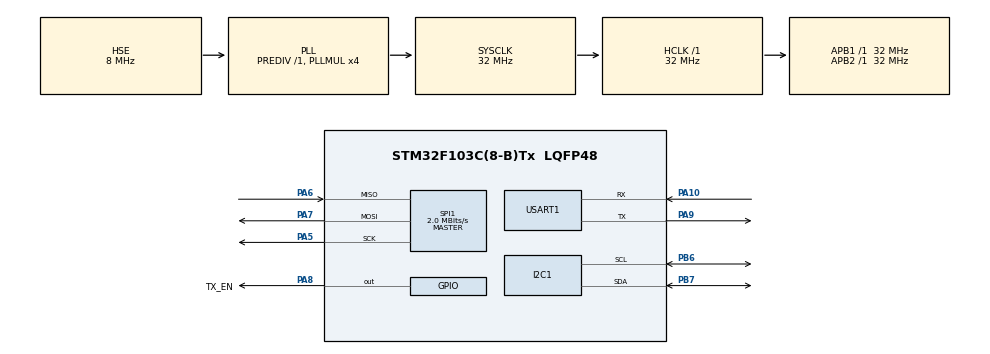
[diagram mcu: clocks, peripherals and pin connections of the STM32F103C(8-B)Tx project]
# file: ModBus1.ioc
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I2C1.I2C_Mode=I2C_Fast
Mcu.Family=STM32F1
Mcu.Name=STM32F103C(8-B)Tx
Mcu.Package=LQFP48
NVIC.PriorityGroup=NVIC_PRIORITYGROUP_4
NVIC.USART1_IRQn=true\:0\:0\:false\:false\:true\:true\:true\:true
PA10.Mode=Asynchronous
PA10.Signal=USART1_RX
PA13.Mode=Serial_Wire
PA13.Signal=SYS_JTMS-SWDIO
PA14.Mode=Serial_Wire
PA14.Signal=SYS_JTCK-SWCLK
PA5.Mode=Full_Duplex_Master
PA5.Signal=SPI1_SCK
PA6.Mode=Full_Duplex_Master
PA6.Signal=SPI1_MISO
PA7.Mode=Full_Duplex_Master
PA7.Signal=SPI1_MOSI
PA8.GPIO_Label=TX_EN
PA8.Signal=GPIO_Output
PA9.Mode=Asynchronous
PA9.Signal=USART1_TX
PB6.Mode=I2C
PB6.Signal=I2C1_SCL
PB7.Mode=I2C
PB7.Signal=I2C1_SDA
PD0-OSC_IN.Mode=HSE-External-Oscillator
PD0-OSC_IN.Signal=RCC_OSC_IN
PD1-OSC_OUT.Mode=HSE-External-Oscillator
PD1-OSC_OUT.Signal=RCC_OSC_OUT
ProjectManager.HeapSize=0x200
ProjectManager.StackSize=0x400
ProjectManager.TargetToolchain=STM32CubeIDE
RCC.AHBFreq_Value=32000000
RCC.APB1Freq_Value=32000000
RCC.APB1TimFreq_Value=32000000
RCC.APB2Freq_Value=32000000
RCC.APB2TimFreq_Value=32000000
RCC.HCLKFreq_Value=32000000
RCC.PLLMUL=RCC_PLL_MUL4
RCC.PLLSourceVirtual=RCC_PLLSOURCE_HSE
RCC.SYSCLKFreq_VALUE=32000000
RCC.SYSCLKSource=RCC_SYSCLKSOURCE_PLLCLK
RCC.USBFreq_Value=32000000
SPI1.BaudRatePrescaler=SPI_BAUDRATEPRESCALER_16
SPI1.CLKPhase=SPI_PHASE_2EDGE
SPI1.CalculateBaudRate=2.0 MBits/s
SPI1.Direction=SPI_DIRECTION_2LINES
SPI1.Mode=SPI_MODE_MASTER
SPI1.VirtualType=VM_MASTER
USART1.VirtualMode=VM_ASYNC
board=custom

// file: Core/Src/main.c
/* USER CODE BEGIN Header */
/**
  ******************************************************************************
  * @file           : main.c
  * @brief          : Main program body
  ******************************************************************************
  * @attention
  *
  * Copyright (c) 2022 STMicroelectronics.
  * All rights reserved.
  *
  * This software is licensed under terms that can be found in the LICENSE file
  * in the root directory of this software component.
  * If no LICENSE file comes with this software, it is provided AS-IS.
  *
  ******************************************************************************
  */
/* USER CODE END Header */
#include "main.h"

/* USER CODE BEGIN Includes */

#include "stdio.h"
#include "string.h"
#include "fonts.h"
#include "ssd1306.h"
#include <stdio.h>
#include <stdbool.h>

/* USER CODE END Includes */

I2C_HandleTypeDef hi2c1;

SPI_HandleTypeDef hspi1;

UART_HandleTypeDef huart1;

void SystemClock_Config(void);
static void MX_GPIO_Init(void);
static void MX_I2C1_Init(void);
static void MX_SPI1_Init(void);
static void MX_USART1_UART_Init(void);

/* USER CODE BEGIN 0 */

extern bool MAX31865_Sensor_Error;
uint8_t RxDat[6];
uint8_t TxDat[6];
uint8_t temp [6];
char yazi[25];

void sendData (uint8_t *data)//gönderme işlem fonksiyonu
{
	// Pull DE high to enable TX operation
	HAL_GPIO_WritePin(TX_EN_GPIO_Port, TX_EN_Pin, 1);
	HAL_UART_Transmit(&huart1, data, strlen(data) , 1000);
	// Pull RE Low to enable RX operation
	HAL_GPIO_WritePin(TX_EN_GPIO_Port, TX_EN_Pin, 0);
}

/* USER CODE END 0 */

int main(void)
{

  /* MCU Configuration--------------------------------------------------------*/

  /* Reset of all peripherals, Initializes the Flash interface and the Systick. */
  HAL_Init();

  /* Configure the system clock */
  SystemClock_Config();

  /* Initialize all configured peripherals */
  MX_GPIO_Init();
  MX_I2C1_Init();
  MX_SPI1_Init();
  MX_USART1_UART_Init();
  /* USER CODE BEGIN 2 */

  SSD1306_Init();
  HAL_UARTEx_ReceiveToIdle_IT(&huart1, RxDat, 64);

  /* USER CODE END 2 */

  /* Infinite loop */
  while (1)
  {

	//  HAL_UART_Receive(&huart1, &temp, 8, 100);
	  	  	  	  	  	if(RxDat [1]>= 51)
	  	  	  	  	  		{
	  	  	  	  	  		sprintf(yazi, RxDat);
	  	  	  	  	  		TxDat[0] = 'H';
	  	  	  	  	  		TxDat[1] = 'I';
	  	  	  	  	  		TxDat[2] = 'G';
	  	  	  	  	  		TxDat[3] = 'H';
	  	  	  	  	  		TxDat[4] = ' ';
	  	  	  	  	  		TxDat[5] = '!';
	  	  	  	  	  		sendData(TxDat);
	  	  	  	  			SSD1306_Clear();
	  	  	  	  	  		SSD1306_GotoXY (50,5);
	  	  	  	  	  		SSD1306_Puts(yazi, &Font_11x18, 1);
  	  	  		  	  		SSD1306_GotoXY(25,25);
  	  	  		  	   		SSD1306_Puts("HIGH VALUE!!", &Font_7x10, 1);
	  	  	  	  	  		SSD1306_UpdateScreen();
	  	  	  	  	  		HAL_Delay(500);

	  	  	  	  	  		HAL_UARTEx_ReceiveToIdle_IT(&huart1, RxDat, 64);
	  	  	  	  	  		}
	  	  	  	  	  else if(RxDat [1]< 51)
	  	  	  	  	  	  	{
	  	  	  	  	  	  		sprintf(yazi, RxDat);
	  	  	  	  	  	  		TxDat[0] = 'N';
	  	  	  	  	  	  		TxDat[1] = 'O';
	  	  	  	  	  	  		TxDat[2] = 'R';
	  	  	  	  	  	  		TxDat[3] = 'M';
	  	  	  	  	  	  		TxDat[4] = 'A';
	  	  	  	  	  	  		TxDat[5] = 'L';
	  	  	  		  	  		sendData(TxDat);
	  	  	  		  			SSD1306_Clear();
	  	  	  		  	  		SSD1306_GotoXY(50,5);
	  	  	  		  	   		SSD1306_Puts(yazi, &Font_11x18, 1);
	  	  	  		  	  		SSD1306_GotoXY(25,25);
	  	  	  		  	   		SSD1306_Puts("NORMAL VALUE", &Font_7x10, 1);
	  	  	  		  	   		SSD1306_UpdateScreen();
	  	  	  		  	   		HAL_Delay(500);
	  	  	  	  	  	  		HAL_UARTEx_ReceiveToIdle_IT(&huart1, RxDat, 64);
	  	  	  	  	  	  		//send NORMAL
	  	  	  	  	  	  	}
	  	  	  	  /*int temp = TX_EN_GPIO_Port;// burada temp değişkeninen RS-485den alınan değer atanması amaçlanıyor.
	  	  	  	  	if(temp > 35)
	  	  	  	  		{
	  	  	  	  		sprintf(yazi, "%d.%d °C HIGH VALUE!!", (uint16_t) (temp),((uint16_t) (temp * 100) - ((uint16_t) temp) * 100) / 10);
	  	  	  	  		RxData[0] = 'R';
	  	  	  	  		RxData[1] = 'E';
	  	  	  	  		RxData[2] = 'F';
	  	  	  	  		RxData[3] = 'R';
	  	  	  	  		RxData[4] = 'I';
	  	  	  	  		RxData[5] = 'G';
	  	  	  	  		RxData[6] = 'E';
	  	  	  	  		RxData[7] = 'R';
	  	  	  	  		RxData[8] = 'A';
	  	  	  	  		RxData[9] = 'T';
	  	  	  	  		RxData[10] = 'E';
	  	  	  	  		RxData[11] = ' ';
	  	  	  	  		RxData[12] = '!';
	  	  	  	  		sendData(RxData);
	  	  	  	  		HAL_UARTEx_ReceiveToIdle_IT(&huart1, RxData, 64);//send REFRIGERATE !
	  	  	  	  		}
	  	  	  	  	else if(temp < 30)
	  	  	  	  		{
	  	  	  	  		sprintf(yazi, "%d.%d °C LOW VALUE!!", (uint16_t) (temp),((uint16_t) (temp * 100) - ((uint16_t) temp) * 100) / 10);
	  	  	  	  		RxData[0] = 'H';
	  	  	  	  		RxData[1] = 'E';
	  	  	  	  		RxData[2] = 'A';
	  	  	  	  		RxData[3] = 'T';
	  	  	  	  		RxData[4] = ' ';
	  	  	  	  		RxData[5] = '!';
	  	  	  	  		sendData(RxData);
	  	  	  	  		HAL_UARTEx_ReceiveToIdle_IT(&huart1, RxData, 64);
	  	  	  	  		//send HEAT !
	  	  	  	  		}
	  	  	  	  	else if(temp >30 && temp<35)
	  	  	  	  	{
	  	  	  	  		sprintf(yazi, "%d.%d °C NORMAL VALUE!!", (uint16_t) (temp),((uint16_t) (temp * 100) - ((uint16_t) temp) * 100) / 10);
	  	  	  	  		RxData[0] = 'N';
	  	  	  	  		RxData[1] = 'O';
	  	  	  	  		RxData[2] = 'R';
	  	  	  	  		RxData[3] = 'M';
	  	  	  	  		RxData[4] = 'A';
	  	  	  	  		RxData[5] = 'L';
	  	  	  	  		HAL_UARTEx_ReceiveToIdle_IT(&huart1, RxData, 64);
	  	  	  	  		//send NORMAL
	  	  	  	  	}*/

  }
}

void SystemClock_Config(void)
{
  RCC_OscInitTypeDef RCC_OscInitStruct = {0};
  RCC_ClkInitTypeDef RCC_ClkInitStruct = {0};

  /** Initializes the RCC Oscillators according to the specified parameters
  * in the RCC_OscInitTypeDef structure.
  */
  RCC_OscInitStruct.OscillatorType = RCC_OSCILLATORTYPE_HSE;
  RCC_OscInitStruct.HSEState = RCC_HSE_ON;
  RCC_OscInitStruct.HSEPredivValue = RCC_HSE_PREDIV_DIV1;
  RCC_OscInitStruct.HSIState = RCC_HSI_ON;
  RCC_OscInitStruct.PLL.PLLState = RCC_PLL_ON;
  RCC_OscInitStruct.PLL.PLLSource = RCC_PLLSOURCE_HSE;
  RCC_OscInitStruct.PLL.PLLMUL = RCC_PLL_MUL4;
  if (HAL_RCC_OscConfig(&RCC_OscInitStruct) != HAL_OK)
  {
    Error_Handler();
  }

  /** Initializes the CPU, AHB and APB buses clocks
  */
  RCC_ClkInitStruct.ClockType = RCC_CLOCKTYPE_HCLK|RCC_CLOCKTYPE_SYSCLK
                              |RCC_CLOCKTYPE_PCLK1|RCC_CLOCKTYPE_PCLK2;
  RCC_ClkInitStruct.SYSCLKSource = RCC_SYSCLKSOURCE_PLLCLK;
  RCC_ClkInitStruct.AHBCLKDivider = RCC_SYSCLK_DIV1;
  RCC_ClkInitStruct.APB1CLKDivider = RCC_HCLK_DIV1;
  RCC_ClkInitStruct.APB2CLKDivider = RCC_HCLK_DIV1;

  if (HAL_RCC_ClockConfig(&RCC_ClkInitStruct, FLASH_LATENCY_1) != HAL_OK)
  {
    Error_Handler();
  }
}

static void MX_I2C1_Init(void)
{

  hi2c1.Instance = I2C1;
  hi2c1.Init.ClockSpeed = 400000;
  hi2c1.Init.DutyCycle = I2C_DUTYCYCLE_2;
  hi2c1.Init.OwnAddress1 = 0;
  hi2c1.Init.AddressingMode = I2C_ADDRESSINGMODE_7BIT;
  hi2c1.Init.DualAddressMode = I2C_DUALADDRESS_DISABLE;
  hi2c1.Init.OwnAddress2 = 0;
  hi2c1.Init.GeneralCallMode = I2C_GENERALCALL_DISABLE;
  hi2c1.Init.NoStretchMode = I2C_NOSTRETCH_DISABLE;
  if (HAL_I2C_Init(&hi2c1) != HAL_OK)
  {
    Error_Handler();
  }

}

static void MX_SPI1_Init(void)
{

  /* SPI1 parameter configuration*/
  hspi1.Instance = SPI1;
  hspi1.Init.Mode = SPI_MODE_MASTER;
  hspi1.Init.Direction = SPI_DIRECTION_2LINES;
  hspi1.Init.DataSize = SPI_DATASIZE_8BIT;
  hspi1.Init.CLKPolarity = SPI_POLARITY_LOW;
  hspi1.Init.CLKPhase = SPI_PHASE_2EDGE;
  hspi1.Init.NSS = SPI_NSS_SOFT;
  hspi1.Init.BaudRatePrescaler = SPI_BAUDRATEPRESCALER_16;
  hspi1.Init.FirstBit = SPI_FIRSTBIT_MSB;
  hspi1.Init.TIMode = SPI_TIMODE_DISABLE;
  hspi1.Init.CRCCalculation = SPI_CRCCALCULATION_DISABLE;
  hspi1.Init.CRCPolynomial = 10;
  if (HAL_SPI_Init(&hspi1) != HAL_OK)
  {
    Error_Handler();
  }

}

static void MX_USART1_UART_Init(void)
{

  huart1.Instance = USART1;
  huart1.Init.BaudRate = 115200;
  huart1.Init.WordLength = UART_WORDLENGTH_8B;
  huart1.Init.StopBits = UART_STOPBITS_1;
  huart1.Init.Parity = UART_PARITY_NONE;
  huart1.Init.Mode = UART_MODE_TX_RX;
  huart1.Init.HwFlowCtl = UART_HWCONTROL_NONE;
  huart1.Init.OverSampling = UART_OVERSAMPLING_16;
  if (HAL_UART_Init(&huart1) != HAL_OK)
  {
    Error_Handler();
  }

}

static void MX_GPIO_Init(void)
{
  GPIO_InitTypeDef GPIO_InitStruct = {0};

  /* GPIO Ports Clock Enable */
  __HAL_RCC_GPIOD_CLK_ENABLE();
  __HAL_RCC_GPIOA_CLK_ENABLE();
  __HAL_RCC_GPIOB_CLK_ENABLE();

  /*Configure GPIO pin Output Level */
  HAL_GPIO_WritePin(TX_EN_GPIO_Port, TX_EN_Pin, GPIO_PIN_RESET);

  /*Configure GPIO pin : TX_EN_Pin */
  GPIO_InitStruct.Pin = TX_EN_Pin;
  GPIO_InitStruct.Mode = GPIO_MODE_OUTPUT_PP;
  GPIO_InitStruct.Pull = GPIO_NOPULL;
  GPIO_InitStruct.Speed = GPIO_SPEED_FREQ_LOW;
  HAL_GPIO_Init(TX_EN_GPIO_Port, &GPIO_InitStruct);

}

void Error_Handler(void)
{
  __disable_irq();
  while (1)
  {
  }
}
